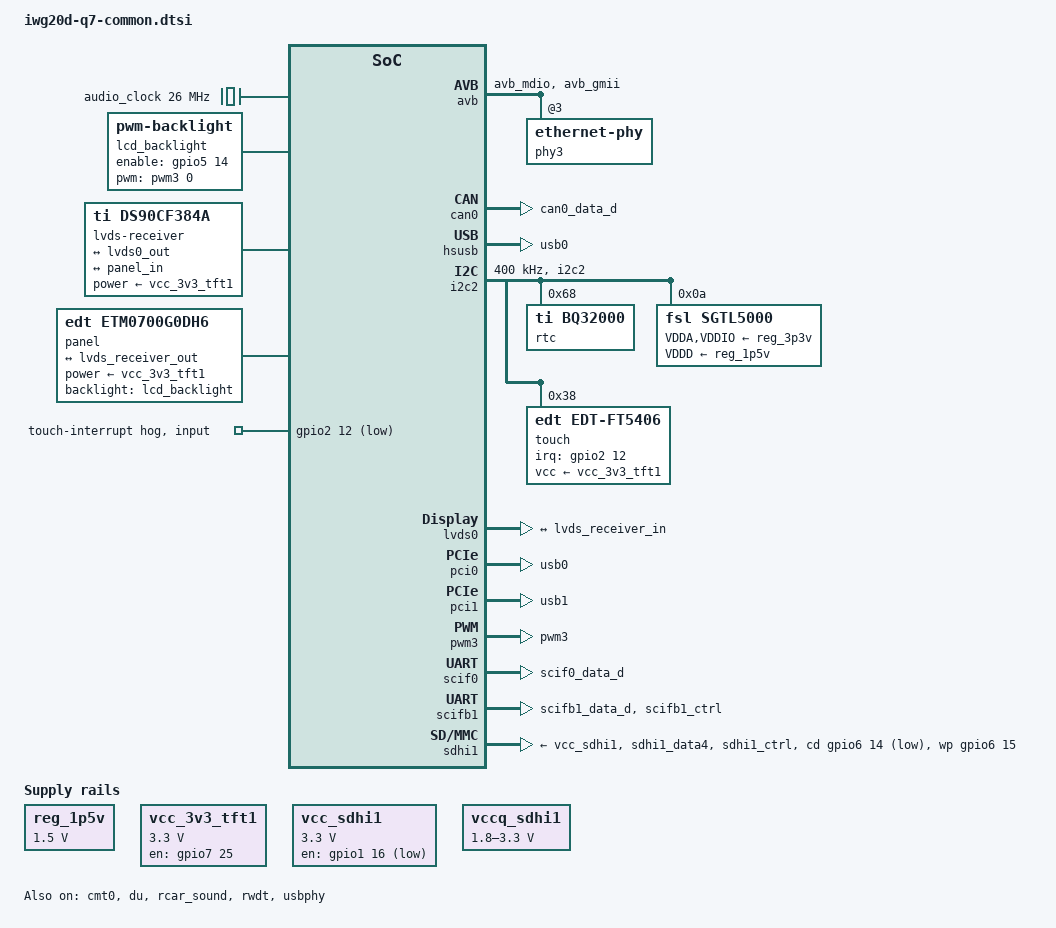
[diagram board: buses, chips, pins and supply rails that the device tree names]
// SPDX-License-Identifier: GPL-2.0
/*
 * Device Tree Source for the iWave-RZ/G1M/G1N Qseven carrier board
 *
 * Copyright (C) 2017 Renesas Electronics Corp.
 */

/*
 * SSI-SGTL5000
 *
 * This command is required when Playback/Capture
 *
 *      amixer set "DVC Out" 100%
 *      amixer set "DVC In" 100%
 *
 * You can use Mute
 *
 *      amixer set "DVC Out Mute" on
 *      amixer set "DVC In Mute" on
 *
 * You can use Volume Ramp
 *
 *      amixer set "DVC Out Ramp Up Rate"   "0.125 dB/64 steps"
 *      amixer set "DVC Out Ramp Down Rate" "0.125 dB/512 steps"
 *      amixer set "DVC Out Ramp" on
 *      aplay xxx.wav &
 *      amixer set "DVC Out"  80%  // Volume Down
 *      amixer set "DVC Out" 100%  // Volume Up
 */

/ {
	aliases {
		serial0 = &scif0;
		serial3 = &scifb1;
		ethernet0 = &avb;
	};

	chosen {
		bootargs = "ignore_loglevel rw root=/dev/nfs ip=dhcp";
		stdout-path = "serial0:115200n8";
	};

	audio_clock: audio_clock {
		compatible = "fixed-clock";
		#clock-cells = <0>;
		clock-frequency = <26000000>;
	};

	lcd_backlight: backlight {
		compatible = "pwm-backlight";

		pwms = <&pwm3 0 5000000 0>;
		brightness-levels = <0 4 8 16 32 64 128 255>;
		default-brightness-level = <7>;
		enable-gpios = <&gpio5 14 GPIO_ACTIVE_HIGH>;
	};

	lvds-receiver {
		compatible = "ti,ds90cf384a", "lvds-decoder";
		power-supply = <&vcc_3v3_tft1>;

		ports {
			#address-cells = <1>;
			#size-cells = <0>;

			port@0 {
				reg = <0>;
				lvds_receiver_in: endpoint {
					remote-endpoint = <&lvds0_out>;
				};
			};
			port@1 {
				reg = <1>;
				lvds_receiver_out: endpoint {
					remote-endpoint = <&panel_in>;
				};
			};
		};
	};

	panel {
		compatible = "edt,etm0700g0dh6";
		backlight = <&lcd_backlight>;
		power-supply = <&vcc_3v3_tft1>;

		port {
			panel_in: endpoint {
				remote-endpoint = <&lvds_receiver_out>;
			};
		};
	};

	reg_1p5v: 1p5v {
		compatible = "regulator-fixed";
		regulator-name = "1P5V";
		regulator-min-microvolt = <1500000>;
		regulator-max-microvolt = <1500000>;
		regulator-always-on;
	};

	rsnd_sgtl5000: sound {
		compatible = "simple-audio-card";

		simple-audio-card,format = "i2s";
		simple-audio-card,bitclock-master = <&sndcodec>;
		simple-audio-card,frame-master = <&sndcodec>;

		sndcpu: simple-audio-card,cpu {
			sound-dai = <&rcar_sound>;
		};

		sndcodec: simple-audio-card,codec {
			sound-dai = <&sgtl5000>;
		};
	};

	vcc_3v3_tft1: regulator-panel {
		compatible = "regulator-fixed";

		regulator-name = "vcc-3v3-tft1";
		regulator-min-microvolt = <3300000>;
		regulator-max-microvolt = <3300000>;
		enable-active-high;
		startup-delay-us = <500>;
		gpio = <&gpio7 25 GPIO_ACTIVE_HIGH>;
	};

	vcc_sdhi1: regulator-vcc-sdhi1 {
		compatible = "regulator-fixed";

		regulator-name = "SDHI1 Vcc";
		regulator-min-microvolt = <3300000>;
		regulator-max-microvolt = <3300000>;

		gpio = <&gpio1 16 GPIO_ACTIVE_LOW>;
	};

	vccq_sdhi1: regulator-vccq-sdhi1 {
		compatible = "regulator-gpio";

		regulator-name = "SDHI1 VccQ";
		regulator-min-microvolt = <1800000>;
		regulator-max-microvolt = <3300000>;

		gpios = <&gpio2 30 GPIO_ACTIVE_HIGH>;
		gpios-states = <1>;
		states = <3300000 1>, <1800000 0>;
	};
};

&avb {
	pinctrl-0 = <&avb_pins>;
	pinctrl-names = "default";

	phy-handle = <&phy3>;
	phy-mode = "gmii";
	renesas,no-ether-link;
	status = "okay";

	phy3: ethernet-phy@3 {
		reg = <3>;
		micrel,led-mode = <1>;
	};
};

&can0 {
	pinctrl-0 = <&can0_pins>;
	pinctrl-names = "default";

	status = "okay";
};

&cmt0 {
	status = "okay";
};

&du {
	status = "okay";
};

&gpio2 {
	touch-interrupt {
		gpio-hog;
		gpios = <12 GPIO_ACTIVE_LOW>;
		input;
	};
};

&hsusb {
	status = "okay";
	pinctrl-0 = <&usb0_pins>;
	pinctrl-names = "default";
};

&i2c2 {
	pinctrl-0 = <&i2c2_pins>;
	pinctrl-names = "default";

	status = "okay";
	clock-frequency = <400000>;

	rtc@68 {
		compatible = "ti,bq32000";
		reg = <0x68>;
	};

	sgtl5000: codec@a {
		compatible = "fsl,sgtl5000";
		#sound-dai-cells = <0>;
		reg = <0x0a>;
		clocks = <&audio_clock>;
		VDDA-supply = <&reg_3p3v>;
		VDDIO-supply = <&reg_3p3v>;
		VDDD-supply = <&reg_1p5v>;
	};

	touch: touchpanel@38 {
		compatible = "edt,edt-ft5406";
		reg = <0x38>;
		interrupt-parent = <&gpio2>;
		interrupts = <12 IRQ_TYPE_EDGE_FALLING>;
		vcc-supply = <&vcc_3v3_tft1>;
	};
};

&lvds0 {
	status = "okay";

	ports {
		port@1 {
			lvds0_out: endpoint {
				remote-endpoint = <&lvds_receiver_in>;
			};
		};
	};
};

&pci0 {
	pinctrl-0 = <&usb0_pins>;
	pinctrl-names = "default";
};

&pci1 {
	status = "okay";
	pinctrl-0 = <&usb1_pins>;
	pinctrl-names = "default";
};

&pcie_bus_clk {
	clock-frequency = <100000000>;
};

&pfc {
	can0_pins: can0 {
		groups = "can0_data_d";
		function = "can0";
	};

	avb_pins: avb {
		groups = "avb_mdio", "avb_gmii";
		function = "avb";
	};

	i2c2_pins: i2c2 {
		groups = "i2c2";
		function = "i2c2";
	};

	pwm3_pins: pwm3 {
		groups = "pwm3";
		function = "pwm3";
	};

	scif0_pins: scif0 {
		groups = "scif0_data_d";
		function = "scif0";
	};

	scifb1_pins: scifb1 {
		groups = "scifb1_data_d", "scifb1_ctrl";
		function = "scifb1";
	};

	sdhi1_pins: sd1 {
		groups = "sdhi1_data4", "sdhi1_ctrl";
		function = "sdhi1";
		power-source = <3300>;
	};

	sdhi1_pins_uhs: sd1_uhs {
		groups = "sdhi1_data4", "sdhi1_ctrl";
		function = "sdhi1";
		power-source = <1800>;
	};

	sound_pins: sound {
		groups = "ssi0129_ctrl", "ssi0_data", "ssi1_data";
		function = "ssi";
	};

	usb0_pins: usb0 {
		groups = "usb0";
		function = "usb0";
	};

	usb1_pins: usb1 {
		groups = "usb1";
		function = "usb1";
	};
};

&pwm3 {
	pinctrl-0 = <&pwm3_pins>;
	pinctrl-names = "default";
	status = "okay";
};

&rcar_sound {
	pinctrl-0 = <&sound_pins>;
	pinctrl-names = "default";
	status = "okay";

	/* Single DAI */
	#sound-dai-cells = <0>;

	rcar_sound,dai {
		dai0 {
			playback = <&ssi1>, <&src3>, <&dvc1>;
			capture = <&ssi0>, <&src2>, <&dvc0>;
		};
	};
};

&rwdt {
	timeout-sec = <60>;
	status = "okay";
};

&scif0 {
	pinctrl-0 = <&scif0_pins>;
	pinctrl-names = "default";

	status = "okay";
};

&scifb1 {
	pinctrl-0 = <&scifb1_pins>;
	pinctrl-names = "default";

	uart-has-rtscts;
	status = "okay";
};

&sdhi1 {
	pinctrl-0 = <&sdhi1_pins>;
	pinctrl-1 = <&sdhi1_pins_uhs>;
	pinctrl-names = "default", "state_uhs";

	vmmc-supply = <&vcc_sdhi1>;
	vqmmc-supply = <&vccq_sdhi1>;
	cd-gpios = <&gpio6 14 GPIO_ACTIVE_LOW>;
	wp-gpios = <&gpio6 15 GPIO_ACTIVE_HIGH>;
	sd-uhs-sdr50;
	status = "okay";
};

&ssi1 {
	shared-pin;
};

&usbphy {
	status = "okay";
};
